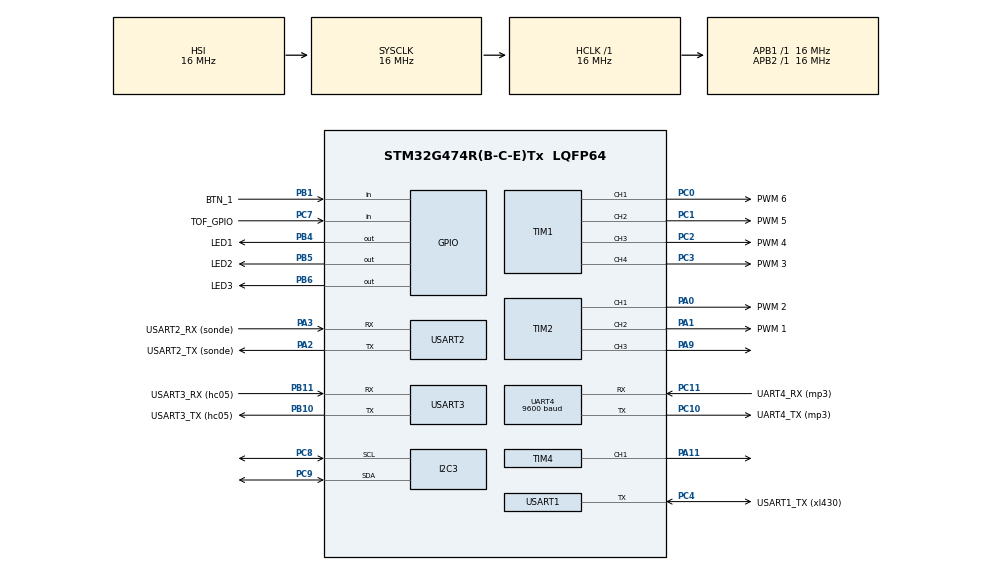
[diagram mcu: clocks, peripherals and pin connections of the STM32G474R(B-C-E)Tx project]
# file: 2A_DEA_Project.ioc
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Dma.Request0=TIM4_CH1
Dma.TIM4_CH1.0.Direction=DMA_MEMORY_TO_PERIPH
Dma.TIM4_CH1.0.EventEnable=DISABLE
Dma.TIM4_CH1.0.Instance=DMA1_Channel1
Dma.TIM4_CH1.0.MemDataAlignment=DMA_MDATAALIGN_HALFWORD
Dma.TIM4_CH1.0.MemInc=DMA_MINC_ENABLE
Dma.TIM4_CH1.0.Mode=DMA_NORMAL
Dma.TIM4_CH1.0.PeriphDataAlignment=DMA_PDATAALIGN_HALFWORD
Dma.TIM4_CH1.0.PeriphInc=DMA_PINC_DISABLE
Dma.TIM4_CH1.0.Polarity=HAL_DMAMUX_REQ_GEN_RISING
Dma.TIM4_CH1.0.Priority=DMA_PRIORITY_VERY_HIGH
Dma.TIM4_CH1.0.RequestNumber=1
Dma.TIM4_CH1.0.SignalID=NONE
Dma.TIM4_CH1.0.SyncEnable=DISABLE
Dma.TIM4_CH1.0.SyncPolarity=HAL_DMAMUX_SYNC_NO_EVENT
Dma.TIM4_CH1.0.SyncRequestNumber=1
Dma.TIM4_CH1.0.SyncSignalID=NONE
I2C3.Timing=0x00503D58
Mcu.Family=STM32G4
Mcu.Name=STM32G474R(B-C-E)Tx
Mcu.Package=LQFP64
NVIC.DMA1_Channel1_IRQn=true\:0\:0\:false\:false\:true\:false\:true\:true
NVIC.PriorityGroup=NVIC_PRIORITYGROUP_4
NVIC.USART3_IRQn=true\:1\:0\:true\:false\:true\:true\:true\:true
PA0.GPIO_Label=PWM 2
PA0.Signal=S_TIM2_CH1
PA1.GPIO_Label=PWM 1
PA1.Signal=S_TIM2_CH2
PA11.Signal=S_TIM4_CH1
PA13.Mode=Serial_Wire
PA13.Signal=SYS_JTMS-SWDIO
PA14.Mode=Serial_Wire
PA14.Signal=SYS_JTCK-SWCLK
PA2.GPIO_Label=USART2_TX (sonde)
PA2.Mode=Asynchronous
PA2.Signal=USART2_TX
PA3.GPIO_Label=USART2_RX (sonde)
PA3.Mode=Asynchronous
PA3.Signal=USART2_RX
PA9.Signal=S_TIM2_CH3
PB1.GPIO_Label=BTN_1
PB1.Signal=GPIO_Input
PB10.GPIO_Label=USART3_TX (hc05)
PB10.Mode=Asynchronous
PB10.Signal=USART3_TX
PB11.GPIO_Label=USART3_RX (hc05)
PB11.Mode=Asynchronous
PB11.Signal=USART3_RX
PB4.GPIO_Label=LED1
PB4.Signal=GPIO_Output
PB5.GPIO_Label=LED2
PB5.Signal=GPIO_Output
PB6.GPIO_Label=LED3
PB6.Signal=GPIO_Output
PC0.GPIO_Label=PWM 6
PC0.Signal=S_TIM1_CH1
PC1.GPIO_Label=PWM 5
PC1.Signal=S_TIM1_CH2
PC10.GPIO_Label=UART4_TX (mp3)
PC10.Mode=Asynchronous
PC10.Signal=UART4_TX
PC11.GPIO_Label=UART4_RX (mp3)
PC11.Mode=Asynchronous
PC11.Signal=UART4_RX
PC2.GPIO_Label=PWM 4
PC2.Signal=S_TIM1_CH3
PC3.GPIO_Label=PWM 3
PC3.Signal=S_TIM1_CH4
PC4.GPIO_Label=USART1_TX (xl430)
PC4.GPIO_PuPd=GPIO_PULLUP
PC4.Mode=Half_duplex(single_wire_mode)
PC4.Signal=USART1_TX
PC7.GPIO_Label=TOF_GPIO
PC7.Signal=GPIO_Input
PC8.Mode=I2C
PC8.Signal=I2C3_SCL
PC9.Mode=I2C
PC9.Signal=I2C3_SDA
ProjectManager.HeapSize=0x200
ProjectManager.StackSize=0x400
ProjectManager.TargetToolchain=STM32CubeIDE
RCC.AHBFreq_Value=16000000
RCC.APB1Freq_Value=16000000
RCC.APB1TimFreq_Value=16000000
RCC.APB2Freq_Value=16000000
RCC.APB2TimFreq_Value=16000000
RCC.CortexFreq_Value=16000000
RCC.EXTERNAL_CLOCK_VALUE=12288000
RCC.HCLKFreq_Value=16000000
RCC.HSE_VALUE=8000000
RCC.HSI48_VALUE=48000000
RCC.HSI_VALUE=16000000
RCC.LSE_VALUE=32768
RCC.SYSCLKFreq_VALUE=16000000
RCC.USBFreq_Value=64000000
RCC.VCOOutputFreq_Value=128000000
SH.S_TIM1_CH1.0=TIM1_CH1,PWM Generation1 CH1
SH.S_TIM1_CH2.0=TIM1_CH2,PWM Generation2 CH2
SH.S_TIM1_CH3.0=TIM1_CH3,PWM Generation3 CH3
SH.S_TIM1_CH4.0=TIM1_CH4,PWM Generation4 CH4
SH.S_TIM2_CH1.0=TIM2_CH1,PWM Generation1 CH1
SH.S_TIM2_CH2.0=TIM2_CH2,PWM Generation2 CH2
SH.S_TIM2_CH3.0=TIM2_CH3,PWM Generation3 CH3
SH.S_TIM4_CH1.0=TIM4_CH1,PWM Generation1 CH1
TIM1.Channel-PWM\ Generation1\ CH1=TIM_CHANNEL_1
TIM1.Channel-PWM\ Generation2\ CH2=TIM_CHANNEL_2
TIM1.Channel-PWM\ Generation3\ CH3=TIM_CHANNEL_3
TIM1.Channel-PWM\ Generation4\ CH4=TIM_CHANNEL_4
TIM2.Channel-PWM\ Generation1\ CH1=TIM_CHANNEL_1
TIM2.Channel-PWM\ Generation2\ CH2=TIM_CHANNEL_2
TIM2.Channel-PWM\ Generation3\ CH3=TIM_CHANNEL_3
TIM4.Channel-PWM\ Generation1\ CH1=TIM_CHANNEL_1
TIM4.PeriodNoDither=20-1
UART4.BaudRate=9600
UART4.SwapParam=UART_ADVFEATURE_SWAP_ENABLE
USART1.BaudRate=9600
USART1.VirtualMode-Half_duplex(single_wire_mode)=VM_ASYNC
USART2.VirtualMode-Asynchronous=VM_ASYNC
USART3.VirtualMode-Asynchronous=VM_ASYNC
VP_SYS_VS_DBSignals.Mode=DisableDeadBatterySignals
VP_TIM1_VS_ClockSourceINT.Mode=Internal
VP_TIM2_VS_ClockSourceINT.Mode=Internal
VP_TIM4_VS_ClockSourceINT.Mode=Internal
board=custom

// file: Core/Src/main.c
/* USER CODE BEGIN Header */
/**
 ******************************************************************************
 * @file           : main.c
 * @brief          : Main program body
 ******************************************************************************
 * @attention
 *
 * Copyright (c) 2024 STMicroelectronics.
 * All rights reserved.
 *
 * This software is licensed under terms that can be found in the LICENSE file
 * in the root directory of this software component.
 * If no LICENSE file comes with this software, it is provided AS-IS.
 *
 ******************************************************************************
 */
/* USER CODE END Header */
#include "main.h"
#include "dma.h"
#include "i2c.h"
#include "tim.h"
#include "usart.h"
#include "gpio.h"

/* USER CODE BEGIN Includes */
#include <stdio.h>
#include "stm32g4xx_hal.h"
#include "xl430.h"
#include "neopixel.h"
#include "mp3.h"
#include "bluetooth_protocol.h"
#include "VL53L1X_api.h"
#include "vl53l1_error_codes.h"

/* USER CODE END Includes */

/* USER CODE BEGIN PD */
#define VL53L1X_DEFAULT_ADDRESS (0x29 << 1)

#ifdef __GNUC__
#define PUTCHAR_PROTOTYPE int __io_putchar(int ch)
#else
#define PUTCHAR_PROTOTYPE int fputc(int ch, FILE *f)
#endif
/* USER CODE END PD */

void SystemClock_Config(void);

/* USER CODE BEGIN 0 */
#ifdef __GNUC__
#define PUTCHAR_PROTOTYPE int __io_putchar(int ch)
#define GETCHAR_PROTOTYPE int __io_getchar(void)
#else
#define PUTCHAR_PROTOTYPE int fputc(int ch, FILE *f)
#define GETCHAR_PROTOTYPE int fgetc(FILE *f)
#endif

PUTCHAR_PROTOTYPE {
    HAL_UART_Transmit(&huart2, (uint8_t *)&ch, 1, HAL_MAX_DELAY);
    return ch;
}

GETCHAR_PROTOTYPE
{
	uint8_t ch = 0;

	/* Clear the Overrun flag just before receiving the first character */
	__HAL_UART_CLEAR_OREFLAG(&huart2);

	/* Wait for reception of a character on the USART RX line and echo this
	 * character on console */
	HAL_UART_Receive(&huart2, (uint8_t *)&ch, 1, HAL_MAX_DELAY);
	HAL_UART_Transmit(&huart2, (uint8_t *)&ch, 1, HAL_MAX_DELAY);
	return ch;
}

///////////////////////////////////////////////// TOF ////////////////////////////////////////////////////////////////////

//uint32_t measure_counter = 0;
//uint8_t data_available = 0;
//
//void HAL_GPIO_EXTI_Callback(uint16_t GPIO_Pin)
//{
//	if (TOF_GPIO_Pin == GPIO_Pin)
//	{
//		measure_counter++;
//		data_available++;
//	}
//}

//////////////////////////////////////////// Bluetooth protocol //////////////////////////////////////////////////////////

//char startChar = '@';
//char endChar = '#';
//
//uint8_t rx_char; // Variable to store the received character
//
//char instruction[200];
//int instructionIndex = 0;
//
//int UARTReceiverState = 0;
//
//volatile int flagUART1 = 0;
//
//
//void HAL_UART_RxCpltCallback(UART_HandleTypeDef *huart) {
//	// Re-enable UART interrupt reception
//	HAL_UART_Receive_IT(&huart3, &rx_char, 1);
//
//	instruction[instructionIndex] = rx_char;
//	instructionIndex++;
//
//	if (rx_char == '#')
//	{
//		instruction[instructionIndex] = 0; // 0 character for the printf
//		instructionIndex = 0;
//		flagUART1 = 1;
//	}
//}

/* USER CODE END 0 */

int main(void)
{

  /* MCU Configuration--------------------------------------------------------*/

  /* Reset of all peripherals, Initializes the Flash interface and the Systick. */
  HAL_Init();

  /* Configure the system clock */
  SystemClock_Config();

  /* Initialize all configured peripherals */
  MX_GPIO_Init();
  MX_DMA_Init();
  MX_TIM1_Init();
  MX_TIM2_Init();
  MX_UART4_Init();
  MX_USART1_UART_Init();
  MX_USART2_UART_Init();
  MX_USART3_UART_Init();
  MX_I2C3_Init();
  MX_TIM4_Init();
  /* USER CODE BEGIN 2 */

  /////////////////////////////////////////////// Tests XL430 ////////////////////////////////////////////////////////////////

	printf("\r\n===== ANIMATRONIC EAGLE FUCK YEAH =====\r\n");
	__XL430_HandleTypeDef XL430_1;
//	__XL430_HandleTypeDef XL430_2;
//	__XL430_HandleTypeDef XL430_3;
//	__XL430_HandleTypeDef XL430_4;
//	__XL430_HandleTypeDef XL430_5;
//	__XL430_HandleTypeDef XL430_6;
//
	XL430_Init(&XL430_1, &huart1, 1, 0);
	XL430_Init_debug(&XL430_1, &huart1, &huart2, 1, 0);
	HAL_Delay(300);
	XL430_Write_Data2(&XL430_1,XL430_REG_TORQUE_ENABLE,1);
	(&XL430_1)->torque_enable = 1;
//
//	XL430_Init(&XL430_2, &huart1, 2, 0);
//	XL430_Init_debug(&XL430_2, &huart1, &huart2, 2, 0);
//	HAL_Delay(200);
//	XL430_Write_Data2(&XL430_2,XL430_REG_TORQUE_ENABLE,1);
//	(&XL430_2)->torque_enable = 1;
//
//	XL430_Init(&XL430_3, &huart1, 3, 0);
//	XL430_Init_debug(&XL430_3, &huart1, &huart2, 3, 0);
//	HAL_Delay(200);
//	XL430_Write_Data2(&XL430_3,XL430_REG_TORQUE_ENABLE,1);
//	(&XL430_3)->torque_enable = 1;
//	HAL_Delay(200);
//
//	XL430_Init(&XL430_4, &huart1, 4, 0);
//	XL430_Init_debug(&XL430_4, &huart1, &huart2, 4, 0);
//	HAL_Delay(300);
//	XL430_Write_Data2(&XL430_4,XL430_REG_TORQUE_ENABLE,1);
//	(&XL430_4)->torque_enable = 1;
//	HAL_Delay(300);
//
//	XL430_Init(&XL430_5, &huart1, 5, 0);
//	XL430_Init_debug(&XL430_5, &huart1, &huart2, 5, 0);
//	HAL_Delay(300);
//	XL430_Write_Data2(&XL430_5,XL430_REG_TORQUE_ENABLE,1);
//	(&XL430_5)->torque_enable = 1;
//	HAL_Delay(300);
//
//	XL430_Init(&XL430_6, &huart1, 6, 0);
//	XL430_Init_debug(&XL430_6, &huart1, &huart2, 6, 0);
//	HAL_Delay(300);
//	XL430_Write_Data2(&XL430_6,XL430_REG_TORQUE_ENABLE,1);
//	(&XL430_6)->torque_enable = 1;
//	HAL_Delay(300);
//
//	XL430_Write_Data2(&XL430_4,XL430_REG_GOAL_VELOCITY,40);
//	HAL_Delay(1000);
//	XL430_Write_Data2(&XL430_4,XL430_REG_GOAL_VELOCITY,0);
//	HAL_Delay(300);
//	XL430_Write_Data2(&XL430_5,XL430_REG_GOAL_VELOCITY,-40);
//	HAL_Delay(1000);
//	XL430_Write_Data2(&XL430_5,XL430_REG_GOAL_VELOCITY,40);
//	HAL_Delay(1000);
//	XL430_Write_Data2(&XL430_5,XL430_REG_GOAL_VELOCITY,0);
//	HAL_Delay(300);
//	XL430_Write_Data2(&XL430_4,XL430_REG_GOAL_VELOCITY,-40);
//	HAL_Delay(1000);
//	XL430_Write_Data2(&XL430_4,XL430_REG_GOAL_VELOCITY,0);
//

	XL430_Write_Data2(&XL430_1,XL430_REG_GOAL_VELOCITY,-40);
	printf("jaaj\n\r");
	HAL_Delay(2000);
	XL430_Write_Data2(&XL430_1,XL430_REG_GOAL_VELOCITY,40);
	printf("jaaj\n\r");
	HAL_Delay(2000);
	XL430_Write_Data2(&XL430_1,XL430_REG_GOAL_VELOCITY,0);

//	XL430_Write_Data2(&XL430_2,XL430_REG_GOAL_VELOCITY,40);
//	printf("jaaj\n\r");
//	HAL_Delay(1500);
//	XL430_Write_Data2(&XL430_2,XL430_REG_GOAL_VELOCITY,-40);
//	printf("jaaj\n\r");
//	HAL_Delay(1500);
//	XL430_Write_Data2(&XL430_2,XL430_REG_GOAL_VELOCITY,0);
//	HAL_Delay(300);
//	XL430_Write_Data2(&XL430_3,XL430_REG_GOAL_VELOCITY,40);
//	HAL_Delay(1500);
//	XL430_Write_Data2(&XL430_3,XL430_REG_GOAL_VELOCITY,-40);
//	HAL_Delay(1500);
//	XL430_Write_Data2(&XL430_3,XL430_REG_GOAL_VELOCITY,0);
//	HAL_Delay(300);
//	XL430_Write_Data2(&XL430_1,XL430_REG_GOAL_VELOCITY,40);
//	HAL_Delay(2000);
//	XL430_Write_Data2(&XL430_1,XL430_REG_GOAL_VELOCITY,0);
//
//	HAL_Delay(200);
//
//	XL430_Write_Data2(&XL430_4,XL430_REG_GOAL_VELOCITY,40);
//	HAL_Delay(2000);
//	XL430_Write_Data2(&XL430_4,XL430_REG_GOAL_VELOCITY,0);
//	HAL_Delay(100);
//	XL430_Write_Data2(&XL430_5,XL430_REG_GOAL_VELOCITY,-40);
//	HAL_Delay(1500);
//	XL430_Write_Data2(&XL430_5,XL430_REG_GOAL_VELOCITY,40);
//	HAL_Delay(1500);
//	XL430_Write_Data2(&XL430_5,XL430_REG_GOAL_VELOCITY,0);
//	HAL_Delay(100);
//	XL430_Write_Data2(&XL430_6,XL430_REG_GOAL_VELOCITY,40);
//	HAL_Delay(1500);
//	XL430_Write_Data2(&XL430_6,XL430_REG_GOAL_VELOCITY,-40);
//	HAL_Delay(1500);
//	XL430_Write_Data2(&XL430_6,XL430_REG_GOAL_VELOCITY,0);
//	HAL_Delay(100);
//	XL430_Write_Data2(&XL430_4,XL430_REG_GOAL_VELOCITY,-40);
//	HAL_Delay(2000);
//	XL430_Write_Data2(&XL430_4,XL430_REG_GOAL_VELOCITY,0);

//	XL430_Write_Data2(&XL430_4,XL430_REG_GOAL_VELOCITY,80);
//	HAL_Delay(100);
//	XL430_Write_Data2(&XL430_1,XL430_REG_GOAL_VELOCITY,-80);
//	HAL_Delay(950);
//	XL430_Write_Data2(&XL430_4,XL430_REG_GOAL_VELOCITY,0);
//	HAL_Delay(100);
//	XL430_Write_Data2(&XL430_1,XL430_REG_GOAL_VELOCITY,0);
//	HAL_Delay(100);
//
//	XL430_Write_Data2(&XL430_5,XL430_REG_GOAL_VELOCITY,-80);
//	HAL_Delay(100);
//	XL430_Write_Data2(&XL430_2,XL430_REG_GOAL_VELOCITY,80);
//	HAL_Delay(700);
//	XL430_Write_Data2(&XL430_5,XL430_REG_GOAL_VELOCITY,80);
//	HAL_Delay(100);
//	XL430_Write_Data2(&XL430_2,XL430_REG_GOAL_VELOCITY,-80);
//	HAL_Delay(700);
//	XL430_Write_Data2(&XL430_5,XL430_REG_GOAL_VELOCITY,0);
//	HAL_Delay(100);
//	XL430_Write_Data2(&XL430_2,XL430_REG_GOAL_VELOCITY,0);
//	HAL_Delay(100);
//
//
//	XL430_Write_Data2(&XL430_6,XL430_REG_GOAL_VELOCITY,80);
//	HAL_Delay(100);
//	XL430_Write_Data2(&XL430_3,XL430_REG_GOAL_VELOCITY,80);
//	HAL_Delay(700);
//	XL430_Write_Data2(&XL430_6,XL430_REG_GOAL_VELOCITY,-80);
//	HAL_Delay(100);
//	XL430_Write_Data2(&XL430_3,XL430_REG_GOAL_VELOCITY,-80);
//	HAL_Delay(700);
//	XL430_Write_Data2(&XL430_6,XL430_REG_GOAL_VELOCITY,0);
//	HAL_Delay(100);
//	XL430_Write_Data2(&XL430_3,XL430_REG_GOAL_VELOCITY,0);
//	HAL_Delay(100);
//	XL430_Write_Data2(&XL430_4,XL430_REG_GOAL_VELOCITY,-80);
//	HAL_Delay(100);
//	XL430_Write_Data2(&XL430_1,XL430_REG_GOAL_VELOCITY,80);
//	HAL_Delay(950);
//	XL430_Write_Data2(&XL430_4,XL430_REG_GOAL_VELOCITY,0);
//	HAL_Delay(100);
//	XL430_Write_Data2(&XL430_1,XL430_REG_GOAL_VELOCITY,0);

//////////////////////////////////////////////// Tests mp3 player ////////////////////////////////////////////////////////////////

//	mp3_selectStorageDevice();
//	waitNms(20);
//	mp3_setVolume(10);
//	waitNms(20);
//	mp3_playWithIndex(2);

///////////////////////////////////////////// Tests neopixel ////////////////////////////////////////////////////////////////
//  animateInit();
//  HAL_Delay(1000);
//  animateChaserFwd(0xFF4400,25);

///////////////////////////////////////////// Tests TOF //////////////////////////////////////////////////////////////////
//  printf("\r\n===== VL53L1X-SATEL =====\r\n");
//
////  	HAL_GPIO_WritePin(XSDN_GPIO_Port, XSDN_Pin, GPIO_PIN_SET);
////  	HAL_Delay(10);
//
//  	uint16_t id;
//  	if (VL53L1X_GetSensorId(VL53L1X_DEFAULT_ADDRESS, &id) != VL53L1_ERROR_NONE)
//  	{
//  		Error_Handler();
//  	}
//  	printf("SensorID : 0x%X\r\n", id);
//
//  	VL53L1X_Version_t version;
//  	if (VL53L1X_GetSWVersion(&version) != VL53L1_ERROR_NONE)
//  	{
//  		Error_Handler();
//  	}
//  	printf("Version : %u.%ub%ur%lu\r\n", version.major, version.minor, version.build, version.revision);
//
//  	uint8_t boot_state = 0;
//  	uint8_t boot_state_counter = 0;
//
//  	while(boot_state == 0)
//  	{
//  		boot_state_counter++;
//  		if (VL53L1X_BootState(VL53L1X_DEFAULT_ADDRESS, &boot_state) != VL53L1_ERROR_NONE)
//  		{
//  			Error_Handler();
//  		}
//  		HAL_Delay(1);
//  	}
//
//  	printf("Chip booted in %d...\r\n", boot_state_counter);
//
//  	//Loads the 135 bytes default values to initialize the sensor.
//  	if (VL53L1X_SensorInit(VL53L1X_DEFAULT_ADDRESS) != VL53L1_ERROR_NONE)
//  	{
//  		Error_Handler();
//  	}
//  	printf("Sensor initialized with the default values\r\n");
//
//  	if (VL53L1X_SetDistanceMode(VL53L1X_DEFAULT_ADDRESS, 1) != VL53L1_ERROR_NONE) // 1=short, limited to 1.3m
//  	{
//  		Error_Handler();
//  	}
//  	printf("Short distance mode\r\n");
//
//  	if (VL53L1X_SetTimingBudgetInMs(VL53L1X_DEFAULT_ADDRESS, 50) != VL53L1_ERROR_NONE) // in ms possible values [20, 50, 100, 200, 500]
//  	{
//  		Error_Handler();
//  	}
//
//  	if (VL53L1X_SetInterMeasurementInMs(VL53L1X_DEFAULT_ADDRESS, 50) != VL53L1_ERROR_NONE) // in ms, IM must be >= TB
//  	{
//  		Error_Handler();
//  	}
//
//  	printf("Timing budget set\r\n");
//
//  	if (VL53L1X_StartRanging(VL53L1X_DEFAULT_ADDRESS) != VL53L1_ERROR_NONE)
//  	{
//  		Error_Handler();
//  	}

////////////////////////////////////////// Tests bluetooth protocol ////////////////////////////////////////////////////////////////
//  float volume = 1.0;
//  char* variableNames[1] = {"volume"};
//  float* variablePointers[1] = {&volume};
//  dictOfVariables_t dictOfVars = {
//		  .n = 1,
//		  .variableNames = variableNames,
//		  .variables = variablePointers
//  };
//
//  labelValue_t lv_test = {
//		  .label = "volume",
//		  .value = 5.0
//  };
//  printf("volume = %f\r\n", volume);
//  applyLabelValue(lv_test, dictOfVars);
//  printf("volume = %f\r\n", volume);
//
//  HAL_UART_Receive_IT(&huart3,&rx_char,1);

  HAL_GPIO_WritePin(GPIOB,GPIO_PIN_4,1);
  printf("Led on \n\r");

  /* USER CODE END 2 */

  /* Infinite loop */
	while (1)
	{

	}
}

void SystemClock_Config(void)
{
  RCC_OscInitTypeDef RCC_OscInitStruct = {0};
  RCC_ClkInitTypeDef RCC_ClkInitStruct = {0};

  /** Configure the main internal regulator output voltage
  */
  HAL_PWREx_ControlVoltageScaling(PWR_REGULATOR_VOLTAGE_SCALE1);

  /** Initializes the RCC Oscillators according to the specified parameters
  * in the RCC_OscInitTypeDef structure.
  */
  RCC_OscInitStruct.OscillatorType = RCC_OSCILLATORTYPE_HSI;
  RCC_OscInitStruct.HSIState = RCC_HSI_ON;
  RCC_OscInitStruct.HSICalibrationValue = RCC_HSICALIBRATION_DEFAULT;
  RCC_OscInitStruct.PLL.PLLState = RCC_PLL_NONE;
  if (HAL_RCC_OscConfig(&RCC_OscInitStruct) != HAL_OK)
  {
    Error_Handler();
  }

  /** Initializes the CPU, AHB and APB buses clocks
  */
  RCC_ClkInitStruct.ClockType = RCC_CLOCKTYPE_HCLK|RCC_CLOCKTYPE_SYSCLK
                              |RCC_CLOCKTYPE_PCLK1|RCC_CLOCKTYPE_PCLK2;
  RCC_ClkInitStruct.SYSCLKSource = RCC_SYSCLKSOURCE_HSI;
  RCC_ClkInitStruct.AHBCLKDivider = RCC_SYSCLK_DIV1;
  RCC_ClkInitStruct.APB1CLKDivider = RCC_HCLK_DIV1;
  RCC_ClkInitStruct.APB2CLKDivider = RCC_HCLK_DIV1;

  if (HAL_RCC_ClockConfig(&RCC_ClkInitStruct, FLASH_LATENCY_0) != HAL_OK)
  {
    Error_Handler();
  }
}

void Error_Handler(void)
{
	__disable_irq();
	while (1)
	{
	}
}
